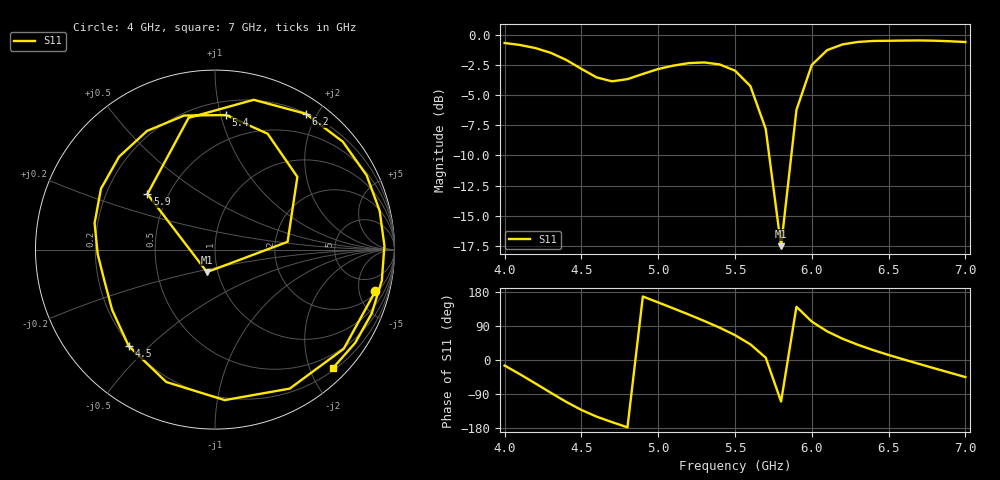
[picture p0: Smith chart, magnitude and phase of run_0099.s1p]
! Touchstone file exported from HFSS 2024.2.0
!  File:  C:/Users/wsak9/Desktop/Sim Fast/Widenad Patch/WP_AI_V1_sweep.aedt
!  Generated:  07:01:49 PM Oct 13, 2026
!  Design:  A1_model
!  Project:  WP_AI_V1_sweep
!  Setup:  Setup1
!  Solution:  Sweep
! Variables:
!  Air_gap = 2.71mm
!  Curve_Amp1 = 1.23
!  Curve_len1 = 1
!  Curve_pos = 10.995mm
!  Extra = 5.77mm
!  H_sub = 0.79mm
!  L_Patch = 17.99mm
!  L_Patch1 = 17.44mm
!  Sx = 3.97mm
!  Sy = 0.66mm
!  WS = 0.68mm
!  W_Patch = 16.62mm
!  W_Patch1 = 11.67mm
!Data is not renormalized
# GHz S MA
! Terminal data exported
! Port[1] = 1
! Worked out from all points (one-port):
!   31 points, 4 GHz to 7 GHz, reference per port
!   lowest |S11| = -17.5 dB at 5.8 GHz (marker M1), VSWR 1.31
!   |S11| at or under -10 dB: 5.723 GHz to 5.867 GHz (144.2 MHz wide, 2.49 % of centre)
!   S11 on the Smith chart (normalised r, x): 4 GHz: 2.25, -7.08; 4.5 GHz: 0.19, -0.43; 5.4 GHz: 0.30, +1.04; 5.9 GHz: 0.38, +0.31; 6.2 GHz: 0.21, +1.86; 7 GHz: 0.24, -2.39
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4  0.9228 -14.6
4.1  0.9054 -37.6
4.2  0.8793 -61.7
4.3  0.8403 -86.3
4.4  0.786 -110.2
4.5  0.7211 -131.8
4.6  0.6643 -149.6
4.8  0.6539 -177.7
4.9  0.6869 167.6
5  0.7202 151.9
5.1  0.744 135.9
5.2  0.7619 119.8
5.3  0.7665 103.0
5.4  0.7521 85.3
5.5  0.709 65.6
5.6  0.6121 41.4
5.7  0.4067 6.1
5.8  0.133 -109.7
5.9  0.4875 140.6
6  0.7487 101.3
6.1  0.8621 75.5
6.2  0.9105 56.1
6.3  0.932 40.2
6.4  0.9407 26.1
6.5  0.9425 13.3
6.7  0.9453 -10.5
6.8  0.9429 -22.1
7  0.9313 -45.1
